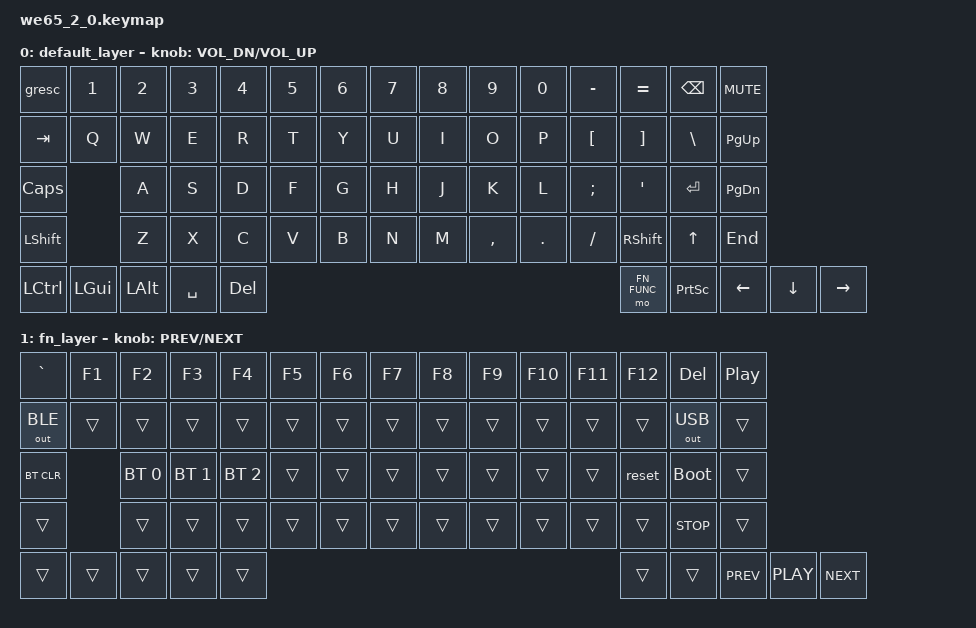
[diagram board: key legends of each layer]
#include <behaviors.dtsi>
#include <dt-bindings/zmk/keys.h>
#include <dt-bindings/zmk/outputs.h>
#include <dt-bindings/zmk/bt.h>

#define DEFAULT	0
#define FN_FUNC	1

/ {
	keymap {
		compatible = "zmk,keymap";
		default_layer {
			bindings = <
	&gresc    &kp N1    &kp N2    &kp N3    &kp N4    &kp N5    &kp N6    &kp N7    &kp N8    &kp N9    &kp N0    &kp MINUS &kp EQUAL &kp BSPC  &kp C_MUTE
	&kp TAB   &kp Q     &kp W     &kp E     &kp R     &kp T     &kp Y     &kp U     &kp I     &kp O     &kp P     &kp LBKT  &kp RBKT  &kp BSLH  &kp PG_UP 
	&kp CAPS            &kp A     &kp S     &kp D     &kp F     &kp G     &kp H     &kp J     &kp K     &kp L     &kp SEMI  &kp APOS  &kp ENTER &kp PG_DN 
	&kp LSHFT           &kp Z     &kp X     &kp C     &kp V     &kp B     &kp N     &kp M     &kp COMMA &kp DOT   &kp FSLH  &kp RSHFT &kp UP    &kp END   
	&kp LCTRL           &kp LGUI            &kp LALT            &kp SPACE           &kp DEL            &mo FN_FUNC          &kp PSCRN           &kp LEFT   &kp DOWN &kp RIGHT
			>;
			sensor-bindings = <&inc_dec_kp C_VOL_DN C_VOL_UP>;
		};
		fn_layer {
			bindings = <
	&kp GRAVE &kp F1    &kp F2    &kp F3    &kp F4    &kp F5    &kp F6    &kp F7    &kp F8    &kp F9    &kp F10   &kp F11   &kp F12   &kp DEL   &kp C_PP
	&out OUT_BLE    &trans    &trans    &trans    &trans    &trans    &trans    &trans    &trans    &trans    &trans    &trans    &trans    &out OUT_USB    &trans 
	&bt BT_CLR              &bt BT_SEL 0    &bt BT_SEL 1    &bt BT_SEL 2    &trans    &trans    &trans    &trans    &trans    &trans    &trans    &reset    &bootloader    &trans 
	&trans              &trans    &trans    &trans    &trans    &trans    &trans    &trans    &trans    &trans    &trans    &trans    &kp C_STOP    &trans  
	&trans              &trans              &trans              &trans              &trans              &trans              &trans              &kp C_PREV   &kp C_PLAY   &kp C_NEXT
			>;
			sensor-bindings = <&inc_dec_kp C_PREV C_NEXT>;
		};
	};
};
